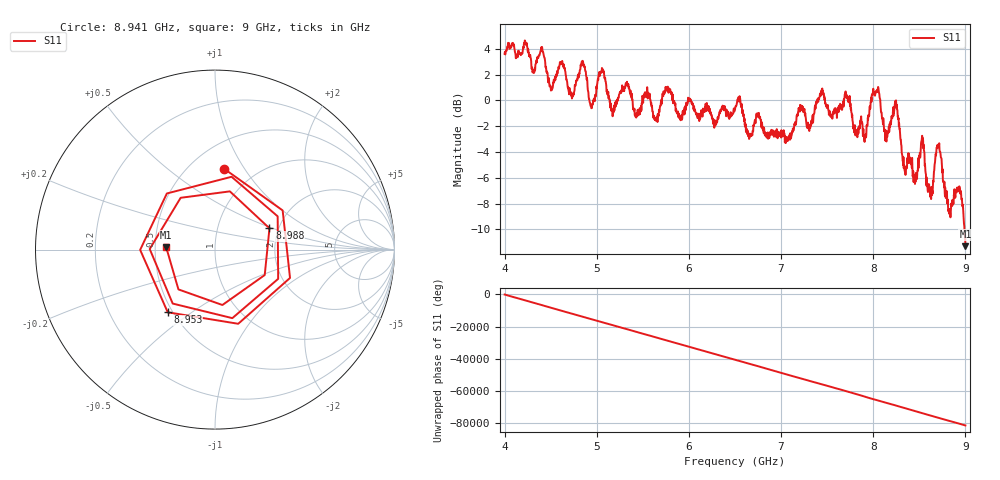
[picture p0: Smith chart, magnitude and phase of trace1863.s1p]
! Created with skrf 1.8.0 (http://scikit-rf.org).
# Hz S RI R 50.0
!freq ReS11 ImS11
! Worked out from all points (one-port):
!   1601 points, 4 GHz to 9 GHz, reference 50 ohm
!   lowest |S11| = -11.3 dB at 9 GHz (marker M1), VSWR 1.75, Z = 28.6 + j0.794 ohm
!   |S11| at or under -10 dB: 8.989953 GHz to end of sweep
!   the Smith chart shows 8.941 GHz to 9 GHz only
!   S11 on the Smith chart (normalised r, x): 8.941 GHz: 0.72, +0.82; 8.953 GHz: 0.47, -0.41; 8.988 GHz: 1.79, +0.48; 9 GHz: 0.57, +0.02
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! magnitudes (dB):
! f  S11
! 4 GHz  3.6
! 4.406 GHz  4.1
! 4.506 GHz  1.0
! 4.625 GHz  3.1
! 4.725 GHz  0.6
! 4.847 GHz  3.1
! 4.941 GHz  -0.6
! 5.053 GHz  2.2
! 5.166 GHz  -0.7
! 5.25 GHz  0.6
! 5.875 GHz  -1.0
! 6.5 GHz  -0.7
! 7.125 GHz  -2.5
! 7.441 GHz  0.8
! 7.75 GHz  -0.5
! 7.912 GHz  -2.9
! 8.047 GHz  0.9
! 8.15 GHz  -2.8
! 8.241 GHz  -0.2
! 8.375 GHz  -4.8
! 8.531 GHz  -2.7
! 8.619 GHz  -7.5
! 8.709 GHz  -3.4
! 8.828 GHz  -8.4
! 8.941 GHz  -6.9
! 8.953 GHz  -7.2
! 8.988 GHz  -9.7
! 9 GHz  -11.3
